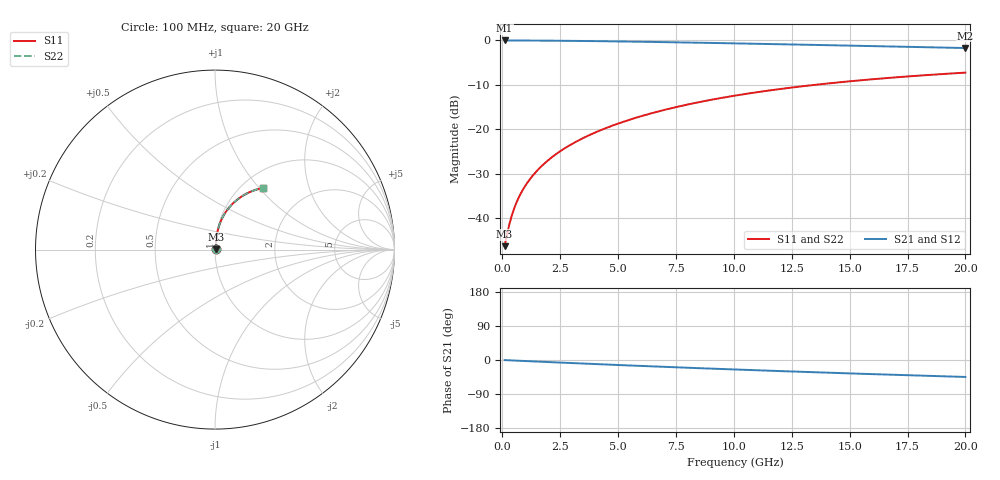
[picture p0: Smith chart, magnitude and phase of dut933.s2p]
! Touchstone file exported from HFSS 2024.1.0
!  File:  C:/UserFiles/LocalFiles/RDL_TSV_Batchsim/temp_RDL_bottom_933_1779941448.aedt
!  Generated:  12:13:24 PM May 28, 2026
!  Design:  RDL_bottom
!  Project:  temp_RDL_bottom_933_1779941448
!  Setup:  Setup1
!  Solution:  Sweep
! Variables:
!  dtsv = 10.80580581um
!  hbump = 3um
!  htsv = 66.98um
!  ldown = 583.75um
!  lrdl = 100um
!  p = 40
!  p1 = 59.16um
!  rhole = 1um
!  t = 450um
!  tdown = 2.35um
!  trdl = 3.915915916um
!  wdown = 22.55um
!  wrdl = 20um
# GHz S MA R 50.000000
! Terminal data exported
! Port[1] = RDL1_T1
! Port[2] = RDL1_T2
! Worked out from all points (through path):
!   200 points, 100 MHz to 20 GHz, reference 50 ohm
!   highest |S21| = -0.04 dB at 100 MHz (marker M1); lowest = -1.7 dB at 20 GHz (marker M2)
!   group delay of S21, straight-line fit = 6.17 ps
!   lowest |S11| = -46.3 dB at 100 MHz (marker M3), VSWR 1.01, Z = 50.4 + j0.244 ohm
!   |S11| at or under -10 dB: start of sweep to 13.54 GHz
!   |S22| runs from -46.3 to -7.3 dB; largest |S21 - S12| = 3.2e-15
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0.1  0.004837 30.1  0.9958 -0.3  0.9958 -0.3  0.004837 30.1
! Gamma 0 0 0 0
! Port Impedance 50 0 50 0
0.3  0.008419 58.0  0.9955 -0.9  0.9955 -0.9  0.008419 58.0
0.4  0.01049 63.8  0.9952 -1.1  0.9952 -1.1  0.01049 63.8
0.5  0.0126 67.6  0.995 -1.4  0.995 -1.4  0.0126 67.6
0.6  0.01472 70.3  0.9948 -1.7  0.9948 -1.7  0.01472 70.3
0.8  0.01896 74.0  0.9943 -2.2  0.9943 -2.2  0.01896 74.0
1.1  0.0254 77.3  0.9935 -3.0  0.9935 -3.0  0.0254 77.3
1.3  0.02973 78.8  0.9929 -3.6  0.9929 -3.6  0.02973 78.8
1.6  0.03631 80.2  0.992 -4.4  0.992 -4.4  0.03631 80.2
2.1  0.04744 81.7  0.99 -5.7  0.99 -5.7  0.04744 81.7
2.7  0.06107 82.4  0.9871 -7.3  0.9871 -7.3  0.06107 82.4
3.5  0.07968 82.5  0.9824 -9.4  0.9824 -9.4  0.07968 82.5
4.2  0.09632 82.2  0.9776 -11.2  0.9776 -11.2  0.09632 82.2
5  0.1157 81.4  0.9714 -13.2  0.9714 -13.2  0.1157 81.3
5.9  0.1377 80.1  0.9639 -15.5  0.9639 -15.5  0.1377 80.1
6.8  0.1599 78.6  0.9558 -17.6  0.9558 -17.6  0.1599 78.6
8.4  0.1992 75.6  0.9404 -21.4  0.9404 -21.4  0.1992 75.6
10.1  0.2399 72.1  0.9232 -25.2  0.9232 -25.2  0.2398 72.1
11.7  0.2765 68.7  0.9064 -28.6  0.9064 -28.6  0.2765 68.7
13.4  0.3133 65.2  0.8883 -32.2  0.8883 -32.2  0.3133 65.1
16.7  0.3778 58.5  0.853 -38.7  0.853 -38.7  0.3777 58.5
20  0.433 52.3  0.8184 -44.7  0.8184 -44.7  0.4328 52.3
